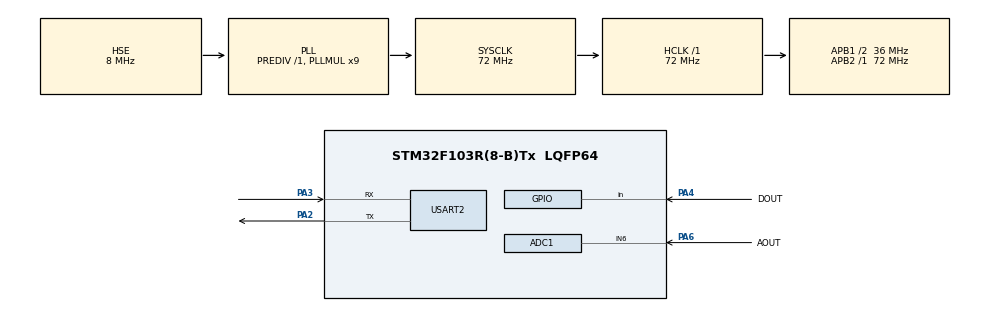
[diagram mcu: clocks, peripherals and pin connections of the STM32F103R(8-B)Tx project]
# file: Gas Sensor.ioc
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ADC1.Channel-2\#ChannelRegularConversion=ADC_CHANNEL_6
ADC1.ContinuousConvMode=ENABLE
ADC1.NbrOfConversionFlag=1
ADC1.Rank-2\#ChannelRegularConversion=1
ADC1.SamplingTime-2\#ChannelRegularConversion=ADC_SAMPLETIME_1CYCLE_5
ADC1.master=1
Mcu.Family=STM32F1
Mcu.Name=STM32F103R(8-B)Tx
Mcu.Package=LQFP64
NVIC.ADC1_2_IRQn=true\:0\:0\:false\:false\:true\:true\:true
NVIC.PriorityGroup=NVIC_PRIORITYGROUP_4
NVIC.USART2_IRQn=true\:0\:0\:false\:false\:true\:true\:true
PA13.Mode=Serial_Wire
PA13.Signal=SYS_JTMS-SWDIO
PA14.Mode=Serial_Wire
PA14.Signal=SYS_JTCK-SWCLK
PA2.Mode=Asynchronous
PA2.Signal=USART2_TX
PA3.Mode=Asynchronous
PA3.Signal=USART2_RX
PA4.GPIO_Label=DOUT
PA4.Signal=GPIO_Input
PA6.GPIO_Label=AOUT
PA6.Signal=ADCx_IN6
PD0-OSC_IN.Mode=HSE-External-Oscillator
PD0-OSC_IN.Signal=RCC_OSC_IN
PD1-OSC_OUT.Mode=HSE-External-Oscillator
PD1-OSC_OUT.Signal=RCC_OSC_OUT
ProjectManager.HeapSize=0x200
ProjectManager.StackSize=0x400
ProjectManager.TargetToolchain=MDK-ARM V5
RCC.ADCPresc=RCC_ADCPCLK2_DIV6
RCC.AHBFreq_Value=72000000
RCC.APB1CLKDivider=RCC_HCLK_DIV2
RCC.APB1Freq_Value=36000000
RCC.APB1TimFreq_Value=72000000
RCC.APB2Freq_Value=72000000
RCC.APB2TimFreq_Value=72000000
RCC.HCLKFreq_Value=72000000
RCC.PLLMUL=RCC_PLL_MUL9
RCC.PLLSourceVirtual=RCC_PLLSOURCE_HSE
RCC.SYSCLKFreq_VALUE=72000000
RCC.SYSCLKSource=RCC_SYSCLKSOURCE_PLLCLK
RCC.USBFreq_Value=72000000
SH.ADCx_IN6.0=ADC1_IN6,IN6
USART2.VirtualMode=VM_ASYNC
board=custom

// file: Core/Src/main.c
/* USER CODE BEGIN Header */
/**
  ******************************************************************************
  * @file           : main.c
  * @brief          : Main program body
  ******************************************************************************
  * @attention
  *
  * <h2><center>&copy; Copyright (c) 2021 STMicroelectronics.
  * All rights reserved.</center></h2>
  *
  * This software component is licensed by ST under BSD 3-Clause license,
  * the "License"; You may not use this file except in compliance with the
  * License. You may obtain a copy of the License at:
  *                        opensource.org/licenses/BSD-3-Clause
  *
  ******************************************************************************
  */
/* USER CODE END Header */
#include "main.h"
#include "adc.h"
#include "usart.h"
#include "gpio.h"

void SystemClock_Config(void);

/* USER CODE BEGIN 0 */
#include "stdio.h"

#ifdef __GNUC__
#define PUTCHAR_PROTOTYPE int __io_putchar(int ch)
#else
#define PUTCHAR_PROTOTYPE int fputc(int ch, FILE *f)
#endif
PUTCHAR_PROTOTYPE
{
    HAL_UART_Transmit(&huart2 , (uint8_t *)&ch, 1, 0xFFFF);
    return ch;
}

/* USER CODE END 0 */

int main(void)
{
  /* USER CODE BEGIN 1 */
	uint16_t ad_value;
  /* USER CODE END 1 */

  /* MCU Configuration--------------------------------------------------------*/

  /* Reset of all peripherals, Initializes the Flash interface and the Systick. */
  HAL_Init();

  /* Configure the system clock */
  SystemClock_Config();

  /* Initialize all configured peripherals */
  MX_GPIO_Init();
  MX_ADC1_Init();
  MX_USART2_UART_Init();
  /* USER CODE BEGIN 2 */
	HAL_ADC_Start_IT(&hadc1);
  /* USER CODE END 2 */

  /* Infinite loop */
  /* USER CODE BEGIN WHILE */
  while (1)
  {
		ad_value = HAL_ADC_GetValue(&hadc1);
		if(HAL_GPIO_ReadPin(DOUT_GPIO_Port, DOUT_Pin) == 0)
			{
				printf("Gas leakage!!!\n");
				printf("ad_value:%4.2fV\n",ad_value*3.3/4096);
			}
		else
			printf("Gas not leakage!!!\n");
			HAL_Delay(500);
    /* USER CODE END WHILE */

  }
}

void SystemClock_Config(void)
{
  RCC_OscInitTypeDef RCC_OscInitStruct = {0};
  RCC_ClkInitTypeDef RCC_ClkInitStruct = {0};
  RCC_PeriphCLKInitTypeDef PeriphClkInit = {0};

  /** Initializes the RCC Oscillators according to the specified parameters
  * in the RCC_OscInitTypeDef structure.
  */
  RCC_OscInitStruct.OscillatorType = RCC_OSCILLATORTYPE_HSE;
  RCC_OscInitStruct.HSEState = RCC_HSE_ON;
  RCC_OscInitStruct.HSEPredivValue = RCC_HSE_PREDIV_DIV1;
  RCC_OscInitStruct.HSIState = RCC_HSI_ON;
  RCC_OscInitStruct.PLL.PLLState = RCC_PLL_ON;
  RCC_OscInitStruct.PLL.PLLSource = RCC_PLLSOURCE_HSE;
  RCC_OscInitStruct.PLL.PLLMUL = RCC_PLL_MUL9;
  if (HAL_RCC_OscConfig(&RCC_OscInitStruct) != HAL_OK)
  {
    Error_Handler();
  }
  /** Initializes the CPU, AHB and APB buses clocks
  */
  RCC_ClkInitStruct.ClockType = RCC_CLOCKTYPE_HCLK|RCC_CLOCKTYPE_SYSCLK
                              |RCC_CLOCKTYPE_PCLK1|RCC_CLOCKTYPE_PCLK2;
  RCC_ClkInitStruct.SYSCLKSource = RCC_SYSCLKSOURCE_PLLCLK;
  RCC_ClkInitStruct.AHBCLKDivider = RCC_SYSCLK_DIV1;
  RCC_ClkInitStruct.APB1CLKDivider = RCC_HCLK_DIV2;
  RCC_ClkInitStruct.APB2CLKDivider = RCC_HCLK_DIV1;

  if (HAL_RCC_ClockConfig(&RCC_ClkInitStruct, FLASH_LATENCY_2) != HAL_OK)
  {
    Error_Handler();
  }
  PeriphClkInit.PeriphClockSelection = RCC_PERIPHCLK_ADC;
  PeriphClkInit.AdcClockSelection = RCC_ADCPCLK2_DIV6;
  if (HAL_RCCEx_PeriphCLKConfig(&PeriphClkInit) != HAL_OK)
  {
    Error_Handler();
  }
}

void Error_Handler(void)
{
  __disable_irq();
  while (1)
  {
  }
}

/************************ (C) COPYRIGHT STMicroelectronics *****END OF FILE****/
